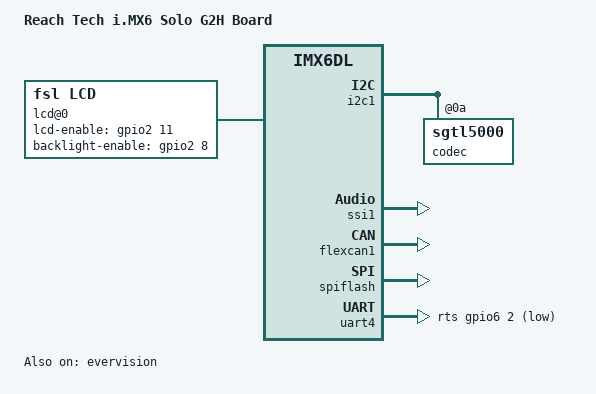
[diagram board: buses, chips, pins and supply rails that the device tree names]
/*
 * Copyright 2013 Freescale Semiconductor, Inc.
 *
 * Author: Fabio Estevam <fabio.estevam@freescale.com>
 *
 * This program is free software; you can redistribute it and/or modify
 * it under the terms of the GNU General Public License version 2 as
 * published by the Free Software Foundation.
 *
 */
/dts-v1/;

#include <dt-bindings/interrupt-controller/irq.h>
#include "imx6dl.dtsi"
#include "imx6qdl-g2h.dtsi"

/ {
	model = "Reach Tech i.MX6 Solo G2H Board";
	compatible = "reach,imx6dl-g2h", "fsl,imx6dl";

	/*
	 * Panel: 7" VGA
	 * Touch: Evervision
	 * Display Interface: Parallel
	 */

	mxcfb1: fb@0 {
		compatible = "fsl,mxc_sdc_fb";
		disp_dev = "lcd";
		interface_pix_fmt = "RGB666";
		mode_str ="WVGA-GH2";
		default_bpp = <32>;
		int_clk = <0>;
		late_init = <0>;
		status = "okay";
	};

       lcd@0 {
		compatible = "fsl,lcd";
		ipu_id = <0>;
		disp_id = <0>;
		default_ifmt = "RGB666";
		pinctrl-names = "default";
		pinctrl-0 = <&pinctrl_ipu1>;
		lcd-enable-gpio = <&gpio2 11 0>;
		backlight-enable-gpio = <&gpio2 8 0>;
		status = "okay";
	};

    sound {
		status = "okay";
	};
};

&i2c1 {
	codec: sgtl5000@0a {
		status = "okay";
	};
};

&ssi1 {
	status = "okay";
};

&epdc {
	status = "disabled";
};

&evervision {
	status = "okay";
};

&flexcan1 {
	status = "okay";
};

&spiflash {
	status = "okay";
};

&uart4 {
	rts-gpios = <&gpio6 2 1>;
};
